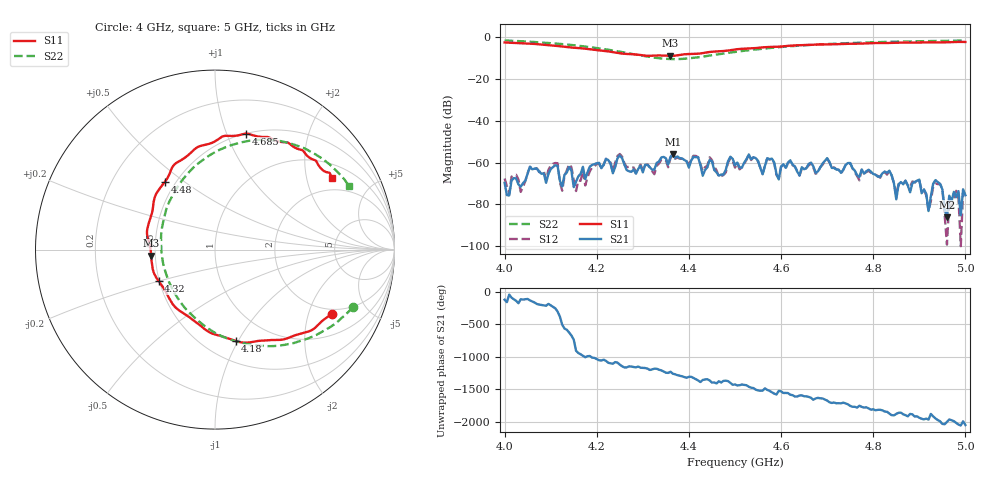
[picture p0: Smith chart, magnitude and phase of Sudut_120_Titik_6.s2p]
# Hz S RI R 50
! CMT, C1220, 16058040, 17.2.0/1
! Date: 15/08/2018 12:10:30
! Data: Format (Calibration Info)
! Freq  S11: Re/Im (F2)  S21: Re/Im (F2)  S12: Re/Im (F2)  S22: Re/Im (F2)
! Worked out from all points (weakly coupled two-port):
!   201 points, 4 GHz to 5 GHz, reference 50 ohm
!   highest |S21| = -55.83 dB at 4.365 GHz (marker M1); lowest = -86.2 dB at 4.96 GHz (marker M2)
!   lowest |S11| = -8.9 dB at 4.36 GHz (marker M3), VSWR 2.11, Z = 23.7 - j1.86 ohm
!   |S11| at or under -10 dB: nowhere
!   |S22| runs from -10.5 to -1.6 dB; largest |S21 - S12| = 0.00023
!   S11 on the Smith chart (normalised r, x): 4 GHz: 1.80, -2.88; 4.18 GHz: 0.70, -0.98; 4.32 GHz: 0.50, -0.20; 4.48 GHz: 0.44, +0.43; 4.685 GHz: 0.50, +1.17; 5 GHz: 1.47, +2.84
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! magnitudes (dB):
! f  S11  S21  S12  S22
! 4 GHz  -2.6  -69.7  -67.6  -1.6
! 4.125 GHz  -4.5  -71.4  -73.4  -3.3
! 4.14 GHz  -4.9  -62.1  -60.7  -3.7
! 4.155 GHz  -5.1  -69.1  -73.6  -4.0
! 4.17 GHz  -5.4  -62.0  -63.7  -4.4
! 4.18 GHz  -5.7  -64.6  -67.0  -4.7
! 4.25 GHz  -7.7  -56.6  -55.9  -7.0
! 4.32 GHz  -8.9  -63.3  -64.0  -9.6
! 4.335 GHz  -8.8  -59.5  -60.5  -10.1
! 4.36 GHz  -8.9  -57.2  -57.9  -10.5
! 4.365 GHz  -8.9  -55.8  -56.3  -10.5
! 4.48 GHz  -6.6  -63.4  -64.7  -7.7
! 4.5 GHz  -5.9  -61.2  -62.4  -7.1
! 4.67 GHz  -3.6  -61.8  -62.3  -3.7
! 4.685 GHz  -3.5  -62.2  -62.3  -3.5
! 4.835 GHz  -2.8  -63.9  -63.9  -2.3
! 4.85 GHz  -2.7  -77.6  -75.4  -2.2
! 4.9 GHz  -2.6  -68.1  -68.7  -2.0
! 4.92 GHz  -2.5  -83.1  -83.2  -1.9
! 4.935 GHz  -2.6  -68.4  -69.9  -1.8
! 4.96 GHz  -2.4  -86.2  -99.2  -1.8
! 5 GHz  -2.3  -75.6  -75.3  -1.6
